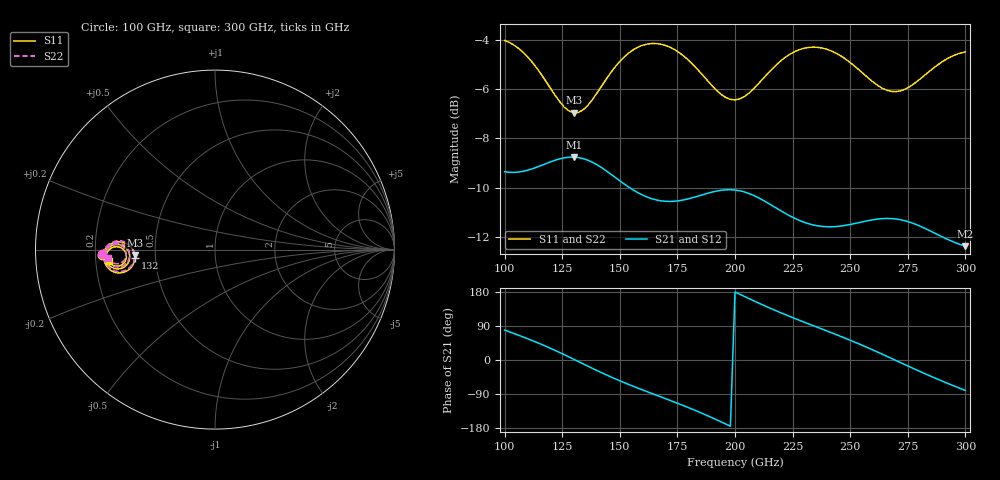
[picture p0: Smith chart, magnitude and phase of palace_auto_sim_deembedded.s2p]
! Created with skrf 1.11.0 (http://scikit-rf.org).
# GHz S DB R 50.0
!freq dBS11 angS11 dBS21 angS21 dBS12 angS12 dBS22 angS22
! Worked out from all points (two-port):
!   101 points, 100 GHz to 300 GHz, reference 50 ohm
!   highest |S21| = -8.76 dB at 130 GHz (marker M1); lowest = -12.4 dB at 300 GHz (marker M2)
!   |S21| within 3 dB of the highest: start of sweep to 284.9 GHz
!   lowest |S11| = -7.0 dB at 130 GHz (marker M3), VSWR 2.63, Z = 19.1 - j1.44 ohm
!   |S11| at or under -10 dB: nowhere
!   |S22| runs from -7.0 to -4.0 dB; largest |S21 - S12| = 3e-13
!   S11 on the Smith chart (normalised r, x): 100 GHz: 0.23, -0.02; 132 GHz: 0.38, -0.05; 300 GHz: 0.25, -0.05
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100  -4.03 -177.0  -9.36 79.0  -9.36 79.0  -4.03 -177.5
116  -5.42 175.3  -9.10 41.3  -9.10 41.3  -5.41 174.7
124  -6.52 177.9  -8.83 19.5  -8.83 19.5  -6.51 177.2
130  -6.97 -176.1  -8.76 2.0  -8.76 2.0  -6.96 -176.8
132  -6.95 -173.8  -8.78 -4.0  -8.78 -4.0  -6.94 -174.5
134  -6.85 -171.6  -8.82 -9.9  -8.82 -9.9  -6.84 -172.3
142  -5.90 -166.3  -9.18 -33.2  -9.18 -33.2  -5.89 -167.1
150  -4.88 -167.1  -9.72 -54.8  -9.72 -54.8  -4.88 -167.9
160  -4.22 -172.2  -10.31 -79.3  -10.31 -79.3  -4.22 -173.1
168  -4.19 -176.9  -10.54 -97.8  -10.54 -97.8  -4.19 -177.8
184  -5.23 177.0  -10.34 -136.3  -10.34 -136.3  -5.23 176.0
192  -6.06 178.7  -10.14 -157.7  -10.14 -157.7  -6.05 177.7
200  -6.44 -175.5  -10.10 179.5  -10.10 179.5  -6.44 -176.6
208  -6.00 -170.0  -10.31 156.6  -10.31 156.6  -6.00 -171.1
216  -5.20 -168.7  -10.72 134.7  -10.72 134.7  -5.19 -169.8
224  -4.58 -170.8  -11.16 114.4  -11.16 114.4  -4.58 -172.0
234  -4.30 -175.4  -11.52 90.5  -11.52 90.5  -4.30 -176.6
252  -5.08 178.4  -11.46 47.1  -11.46 47.1  -5.08 177.1
268  -6.10 -176.7  -11.26 3.9  -11.26 3.9  -6.10 -178.1
276  -5.89 -172.2  -11.41 -18.5  -11.41 -18.5  -5.89 -173.6
284  -5.31 -170.3  -11.72 -40.3  -11.72 -40.3  -5.31 -171.8
300  -4.50 -174.1  -12.38 -80.5  -12.38 -80.5  -4.49 -175.6
